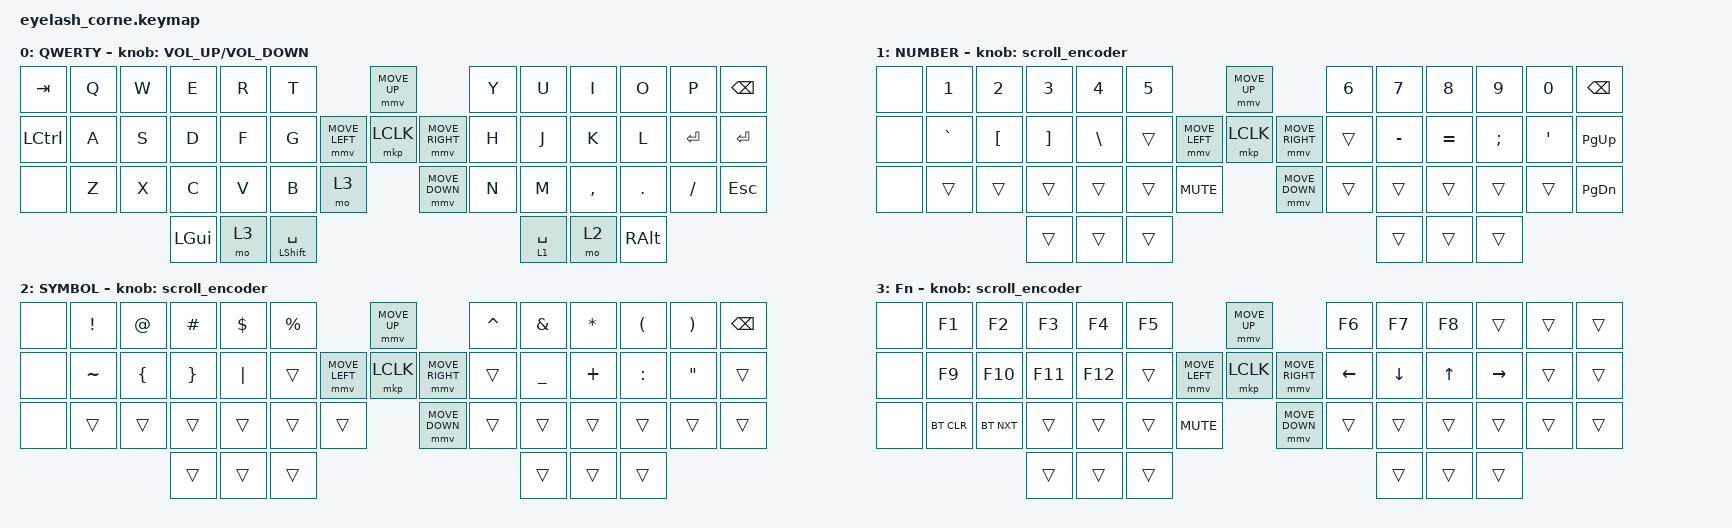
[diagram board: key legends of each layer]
#include <behaviors.dtsi>
#include <dt-bindings/zmk/bt.h>
#include <dt-bindings/zmk/keys.h>
#include <dt-bindings/zmk/mouse.h>
#include <dt-bindings/zmk/outputs.h>
#include <dt-bindings/zmk/rgb.h>

#include <input/processors.dtsi>

/*

   &mmv_input_listener {
       input-processors = <&zip_xy_scaler 2 1>;
   };

   &msc_input_listener {
       input-processors = <&zip_xy_scaler 2 1>;
   };

 */

#define ZMK_MOUSE_DEFAULT_MOVE_VAL 1200  // 600
#define ZMK_MOUSE_DEFAULT_SCRL_VAL 20    // 10

/ {
    behaviors {
        td0: td0 {
            compatible = "zmk,behavior-tap-dance";
            display-name = "Shift/Caps Lock Tap Dance";
            #binding-cells = <0>;
            bindings = <&kp LEFT_SHIFT>, <&kp CAPS>;
        };

        lt_hp: lt_hp {
            compatible = "zmk,behavior-hold-tap";
            label = "LAYER_TAP_BY_HOLD_TAP_HOLD_PREFERRED";
            #binding-cells = <2>;
            tapping-term-ms = <200>;
            quick-tap-ms = <0>;
            flavor = "hold-preferred";
            bindings = <&mo>, <&kp>;
        };

        mt_hp: mt_hp {
            compatible = "zmk,behavior-hold-tap";
            label = "MOD_TAP_BY_HOLD_TAP_HOLD_PREFERRED";
            #binding-cells = <2>;
            tapping-term-ms = <200>;
            quick-tap-ms = <0>;
            flavor = "hold-preferred";
            bindings = <&kp>, <&kp>;
        };
    };

    combos {
        compatible = "zmk,combos";
        combo_ecs {
            timeout-ms =  <100>;
            key-positions = <16 17>;
            bindings = <&kp ESC>;
        };
    };

    rgb_encoder: rgb_encoder {
        compatible = "zmk,behavior-sensor-rotate";
        #sensor-binding-cells = <0>;
        bindings = <&rgb_ug RGB_BRI>, <&rgb_ug RGB_BRD>;
    };

    scroll_encoder: scroll_encoder {
        compatible = "zmk,behavior-sensor-rotate";
        #sensor-binding-cells = <0>;
        bindings = <&msc SCRL_DOWN>, <&msc SCRL_UP>;
        tap-ms = <30>;
    };

    keymap {
        compatible = "zmk,keymap";

        default_layer {
            display-name = "QWERTY";
            bindings = <
&kp TAB      &kp Q  &kp W      &kp E     &kp R  &kp T                                                                &mmv MOVE_UP                     &kp Y        &kp U  &kp I      &kp O    &kp P     &kp BSPC
&kp LCTRL  &kp A  &kp S      &kp D     &kp F  &kp G                                                &mmv MOVE_LEFT  &mkp LCLK       &mmv MOVE_RIGHT  &kp H        &kp J  &kp K      &kp L    &kp ENTER &kp ENTER
&none      &kp Z  &kp X      &kp C     &kp V  &kp B       &mo 3                                                    &mmv MOVE_DOWN                   &kp N        &kp M  &kp COMMA  &kp DOT  &kp FSLH  &kp ESC
                             &kp LGUI  &mo 3  &mt_hp LSHIFT SPACE                                                                                      &lt_hp 1 SPACE  &mo 2  &kp RALT
            >;
            sensor-bindings = <&inc_dec_kp C_VOLUME_UP C_VOLUME_DOWN>;
        };

        lower_layer {
            display-name = "NUMBER";
            bindings = <
&none   &kp N1           &kp N2          &kp N3        &kp N4        &kp N5                                        &mmv MOVE_UP                     &kp N6           &kp N7           &kp N8           &kp N9           &kp N0    &kp BSPC
&none   &kp GRAVE        &kp LBKT        &kp RBKT      &kp BSLH      &trans                        &mmv MOVE_LEFT  &mkp LCLK       &mmv MOVE_RIGHT  &trans           &kp MINUS        &kp EQUAL        &kp SEMI         &kp SQT   &kp PG_UP
&none   &trans           &trans          &trans        &trans        &trans          &kp C_MUTE                    &mmv MOVE_DOWN                   &trans           &trans           &trans           &trans           &trans    &kp PG_DN
                                         &trans        &trans        &trans                                                                         &trans           &trans          &trans
            >;
            sensor-bindings = <&scroll_encoder>;
        };

        raise_layer {
            display-name = "SYMBOL";
            bindings = <
&none   &kp EXCL      &kp AT        &kp HASH   &kp DLLR   &kp PRCNT                           &mmv MOVE_UP                     &kp CARET  &kp AMPS   &kp ASTRK  &kp LPAR  &kp RPAR  &kp BSPC
&none   &kp TILDE     &kp LBRC      &kp RBRC   &kp PIPE   &trans              &mmv MOVE_LEFT  &mkp LCLK       &mmv MOVE_RIGHT  &trans     &kp UNDER  &kp PLUS   &kp COLON &kp DQT   &trans
&none   &trans        &trans        &trans     &trans     &trans    &trans                    &mmv MOVE_DOWN                   &trans     &trans     &trans     &trans    &trans    &trans
                                    &trans     &trans     &trans                                                               &trans     &trans     &trans
            >;
            sensor-bindings = <&scroll_encoder>;
        };

        layer_3 {
            display-name = "Fn";
            bindings = <
&none   &kp F1      &kp F2      &kp F3       &kp F4     &kp F5                                  &mmv MOVE_UP                     &kp F6       &kp F7     &kp F8       &trans      &trans           &trans
&none   &kp F9      &kp F10     &kp F11      &kp F12    &trans                  &mmv MOVE_LEFT  &mkp LCLK       &mmv MOVE_RIGHT  &kp LEFT     &kp DOWN   &kp UP       &kp RIGHT   &trans           &trans
&none   &bt BT_CLR  &bt BT_NXT  &trans       &trans     &trans    &kp C_MUTE                    &mmv MOVE_DOWN                   &trans       &trans     &trans       &trans      &trans           &trans
                                         &trans       &trans     &trans                                                                   &trans       &trans     &trans
            >;
            sensor-bindings = <&scroll_encoder>;
        };
    };
};
